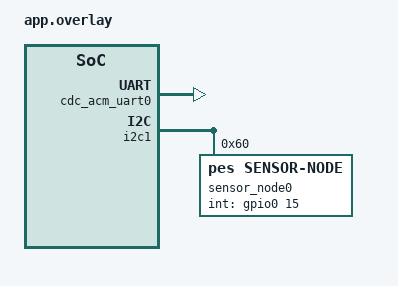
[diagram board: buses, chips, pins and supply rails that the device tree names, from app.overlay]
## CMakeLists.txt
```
cmake_minimum_required(VERSION 3.20.0)

# Register this directory so Zephyr finds dts/bindings/sensor/pes,sensor-node.yaml
list(APPEND DTS_ROOT "${CMAKE_CURRENT_SOURCE_DIR}")

find_package(Zephyr REQUIRED HINTS $ENV{ZEPHYR_BASE})
project(base-station)

target_sources(app PRIVATE
  src/main.c
  drivers/sensor/sensor_node/sensor_node.c)

target_include_directories(app PRIVATE drivers/sensor/sensor_node)
```

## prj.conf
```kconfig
CONFIG_SERIAL=y
CONFIG_CONSOLE=y
CONFIG_UART_CONSOLE=y
CONFIG_UART_LINE_CTRL=y
CONFIG_UART_INTERRUPT_DRIVEN=y

CONFIG_USB_DEVICE_STACK=y
CONFIG_USB_DEVICE_PRODUCT="Base Station"
CONFIG_USB_CDC_ACM=y

CONFIG_SENSOR=y
CONFIG_LOG=y

CONFIG_SHELL=y
CONFIG_SHELL_BACKEND_SERIAL=y
CONFIG_SHELL_BACKEND_SERIAL_CHECK_DTR=y
CONFIG_I2C=y
```

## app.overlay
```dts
/ {
	chosen {
		zephyr,console = &cdc_acm_uart0;
		zephyr,shell-uart = &cdc_acm_uart0;
	};
};

&zephyr_udc0 {
	cdc_acm_uart0: cdc_acm_uart0 {
		compatible = "zephyr,cdc-acm-uart";
	};
};

&i2c1_default {
	group1 {
		bias-pull-up;
	};
};

&i2c1 {
	sensor_node0: sensor-node-0@60 {
		compatible = "pes,sensor-node";
		reg = <0x60>;
		status = "okay";
		int_gpios = <&gpio0 15 GPIO_ACTIVE_HIGH>;
	};
};
```

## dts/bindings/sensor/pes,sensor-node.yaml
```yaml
description: PES sensor node connected to base station via I2C

compatible: "pes,sensor-node"

include: i2c-device.yaml

properties:
  int_gpios:
    type: phandle-array
    required: false
```

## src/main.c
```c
#include <string.h>
#include <zephyr/device.h>
#include <zephyr/drivers/sensor.h>
#include <zephyr/drivers/uart.h>
#include <zephyr/kernel.h>
#include <zephyr/shell/shell.h>
#include <zephyr/usb/usb_device.h>

static const struct device *const console = DEVICE_DT_GET(DT_CHOSEN(zephyr_console));
static const struct device *const sensor = DEVICE_DT_GET(DT_NODELABEL(sensor_node0));

#define SENSOR_ATTR_THRESHOLD_DUR SENSOR_ATTR_PRIV_START

enum plant_monitor_channel {
    PLANT_MONITOR_CHAN_SOIL_MOISTURE = SENSOR_CHAN_PRIV_START,
};
static uint8_t current_period_min = 0;

static void periodic_read_handler(struct k_work *work) {
    struct sensor_value val;

    printk("\n--- Periodic Sensor Read ---\n");

    if (sensor_sample_fetch_chan(sensor, SENSOR_CHAN_AMBIENT_TEMP) == 0) {
        sensor_channel_get(sensor, SENSOR_CHAN_AMBIENT_TEMP, &val);
        printk("Temp: %d.%06d\n", val.val1, val.val2);
    }

    if (sensor_sample_fetch_chan(sensor, SENSOR_CHAN_HUMIDITY) == 0) {
        sensor_channel_get(sensor, SENSOR_CHAN_HUMIDITY, &val);
        printk("Humidity: %d.%06d\n", val.val1, val.val2);
    }

    if (sensor_sample_fetch_chan(sensor, PLANT_MONITOR_CHAN_SOIL_MOISTURE) == 0) {
        sensor_channel_get(sensor, PLANT_MONITOR_CHAN_SOIL_MOISTURE, &val);
        printk("Moisture: %d.%06d\n", val.val1, val.val2);
    }

    if (sensor_sample_fetch_chan(sensor, SENSOR_CHAN_LIGHT) == 0) {
        sensor_channel_get(sensor, SENSOR_CHAN_LIGHT, &val);
        printk("Light: %d.%06d\n", val.val1, val.val2);
    }
}

K_WORK_DEFINE(periodic_read_work, periodic_read_handler);

static void timer_handler(struct k_timer *dummy) {
    k_work_submit(&periodic_read_work);
}

// Define the hardware-backed timer
K_TIMER_DEFINE(periodic_timer, timer_handler, NULL);

// 3. Command Handlers
static int cmd_start(const struct shell *shell, size_t argc, char **argv) {
    if (argc < 2) {
        shell_print(shell, "Usage: start <period_min>");
        return -EINVAL;
    }

    int period = atoi(argv[1]);
    if (period <= 0 || period > 255) {
        shell_print(shell, "Invalid period. Must be between 1 and 255.");
        return -EINVAL;
    }

    current_period_min = (uint8_t)period;

    // Start the timer: First tick happens K_NO_WAIT (immediately),
    // and it auto-reloads exactly every K_MINUTES(current_period_min)
    k_timer_start(&periodic_timer, K_NO_WAIT, K_MINUTES(current_period_min));

    shell_print(shell, "Started reading every %d minute(s).", current_period_min);
    return 0;
}

static int cmd_stop(const struct shell *shell, size_t argc, char **argv) {
    // Stop the hardware timer
    k_timer_stop(&periodic_timer);

    // Cancel any work that the timer might have just submitted but hasn't run yet
    k_work_cancel(&periodic_read_work);

    shell_print(shell, "Stopped periodic reading.");
    return 0;
}

static int cmd_read(const struct shell *shell, size_t argc, char **argv) {

    if (argc < 2) {
        shell_print(shell, "Usage: read temp, moisture, hum, light or all");
        return 0;
    }

    bool is_all = !strcmp(argv[1], "all");
    bool any_matched = is_all;
    if (is_all || !strcmp(argv[1], "temp")) {
        struct sensor_value temp;
        int ret = sensor_sample_fetch_chan(sensor, SENSOR_CHAN_AMBIENT_TEMP);
        if (ret < 0) {
            shell_print(shell, "Fetch failed: %d", ret);
            return ret;
        }
        sensor_channel_get(sensor, SENSOR_CHAN_AMBIENT_TEMP, &temp);
        shell_print(shell, "Temp: %d.%06d", temp.val1, temp.val2);
        any_matched = true;
    }

    if (is_all || !strcmp(argv[1], "hum")) {
        struct sensor_value hum;
        int ret = sensor_sample_fetch_chan(sensor, SENSOR_CHAN_HUMIDITY);
        if (ret < 0) {
            shell_print(shell, "Fetch failed: %d", ret);
            return ret;
        }
        sensor_channel_get(sensor, SENSOR_CHAN_HUMIDITY, &hum);

        shell_print(shell, "Humidity: %d.%06d", hum.val1, hum.val2);
        any_matched = true;
    }

    if (is_all || !strcmp(argv[1], "moisture")) {
        struct sensor_value moisture;
        int ret = sensor_sample_fetch_chan(sensor, PLANT_MONITOR_CHAN_SOIL_MOISTURE);
        if (ret < 0) {
            shell_print(shell, "Fetch failed: %d", ret);
            return ret;
        }
        sensor_channel_get(sensor, PLANT_MONITOR_CHAN_SOIL_MOISTURE, &moisture);
        shell_print(shell, "Moisture: %d.%06d", moisture.val1, moisture.val2);
        any_matched = true;
    }

    if (is_all || !strcmp(argv[1], "light")) {
        struct sensor_value light;
        int ret = sensor_sample_fetch_chan(sensor, SENSOR_CHAN_LIGHT);
        if (ret < 0) {
            shell_print(shell, "Fetch failed: %d", ret);
        }

        sensor_channel_get(sensor, SENSOR_CHAN_LIGHT, &light);
        shell_print(shell, "Light: %d.%06d", light.val1, light.val2);
        any_matched = true;
    }

    if (!any_matched) {
        shell_print(shell, "unknown option");
    }
    return 0;
}

static void cmd_set(const struct shell *shell, size_t argc, char **argv) {
    if (argc < 3) {
        shell_print(shell, "Usage: set {threshold, or min} {0 < n < 256}");
        return;
    }

    int parsed = atoi(argv[2]);
    enum sensor_attribute attr;
    if (!strcmp(argv[1], "threshold")) {
        attr = SENSOR_ATTR_UPPER_THRESH;
    } else if (!strcmp(argv[1], "min")) {
        attr = SENSOR_ATTR_THRESHOLD_DUR;
    } else {
        shell_print(shell, "unknown option");
        return;
    }

    if (parsed <= 0 || 256 <= parsed) {
        shell_print(shell, "Invalid n");
        shell_print(shell, "Usage: set {threshold, or min} {0 < n < 256}");
        return;
    }
    struct sensor_value val = {.val1 = parsed, .val2 = 0};
    sensor_attr_set(sensor, SENSOR_CHAN_LIGHT, attr, &val);
}

K_SEM_DEFINE(interupt_waker, 0, 1);

static void send_message(const struct device *dev, const struct sensor_trigger *trigger) {
    k_sem_give(&interupt_waker);
}

static void cmd_enable(const struct shell *shell, size_t argc, char **argv) {
    static const struct sensor_trigger trig = {
        .type = SENSOR_TRIG_THRESHOLD,
        .chan = SENSOR_CHAN_LIGHT, // Specific channel
    };
    sensor_trigger_set(sensor, &trig, send_message);
}

SHELL_CMD_REGISTER(read, NULL, "Usage: read temp, moisture, hum, light or all", cmd_read);
SHELL_CMD_REGISTER(set, NULL, "Usage: set <threshold, or min> <0 <= n <256>", cmd_set);
SHELL_CMD_REGISTER(enable, NULL, "Usage: enable", cmd_enable);
SHELL_CMD_REGISTER(start, NULL, "Usage: start <period_min>", cmd_start);
SHELL_CMD_REGISTER(stop, NULL, "Usage: stop", cmd_stop);

int main(void) {
    uint32_t dtr = 0;

    if (usb_enable(NULL)) {
        return 0;
    }

    while (!dtr) {
        uart_line_ctrl_get(console, UART_LINE_CTRL_DTR, &dtr);
        k_sleep(K_MSEC(100));
    }

    if (!device_is_ready(sensor)) {
        printk("Sensor not ready\n");
        return 0;
    }

    printk("Plant monitoring started\n");

    while (1) {
        k_sem_take(&interupt_waker, K_FOREVER);
        printk("WARNING: Low light!\n");
    }
    return 0;
}
```

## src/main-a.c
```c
// Alfreds' old version
#include <zephyr/device.h>
#include <zephyr/drivers/sensor.h>
#include <zephyr/drivers/uart.h>
#include <zephyr/kernel.h>
#include <zephyr/usb/usb_device.h>

static const struct device *const console = DEVICE_DT_GET(DT_CHOSEN(zephyr_console));
static const struct device *const sensor = DEVICE_DT_GET(DT_NODELABEL(sensor_node0));

int main(void) {
    uint32_t dtr = 0;

    if (usb_enable(NULL)) {
        return 0;
    }

    while (!dtr) {
        uart_line_ctrl_get(console, UART_LINE_CTRL_DTR, &dtr);
        k_sleep(K_MSEC(100));
    }

    if (!device_is_ready(sensor)) {
        printk("sensor not ready\n");
        return 0;
    }

    printk("Base station started\n");

    while (1) {
        int ret = sensor_sample_fetch(sensor);

        if (ret < 0) {
            printk("fetch error: %d\n", ret);
        } else {
            struct sensor_value temp;

            sensor_channel_get(sensor, SENSOR_CHAN_AMBIENT_TEMP, &temp);
            printk("temp: %d.%02d C\n", temp.val1, temp.val2 / 10000);
        }

        k_sleep(K_MSEC(1000));
    }

    return 0;
}
```

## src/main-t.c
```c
#include <string.h>
#include <zephyr/device.h>
#include <zephyr/drivers/sensor.h>
#include <zephyr/drivers/uart.h>
#include <zephyr/kernel.h>
#include <zephyr/shell/shell.h>
#include <zephyr/usb/usb_device.h>

static const struct device *const console = DEVICE_DT_GET(DT_CHOSEN(zephyr_console));
static const struct device *const sensor = DEVICE_DT_GET(DT_NODELABEL(sensor_node0));

enum plant_monitor_channel {
    PLANT_MONITOR_CHAN_SOIL_MOISTURE = SENSOR_CHAN_PRIV_START,
};

static int cmd_read(const struct shell *shell, size_t argc, char **argv) {
    int ret = sensor_sample_fetch(sensor);

    if (ret < 0) {
        shell_print(shell, "Fetch failed: %d", ret);
        return ret;
    }

    struct sensor_value temp, hum, light, moisture;

    sensor_channel_get(sensor, SENSOR_CHAN_AMBIENT_TEMP, &temp);
    sensor_channel_get(sensor, SENSOR_CHAN_HUMIDITY, &hum);
    sensor_channel_get(sensor, SENSOR_CHAN_LIGHT, &light);
    sensor_channel_get(sensor, PLANT_MONITOR_CHAN_SOIL_MOISTURE, &moisture);

    if (argc < 2) {
        shell_print(shell, "Usage: read temp, moisture, hum, light or all");
        return 0;
    }

    if (!strcmp(argv[1], "temp")) {
        shell_print(shell, "Temp: %d.%06d", temp.val1, temp.val2);
        return 0;
    }

    if (!strcmp(argv[1], "hum")) {
        shell_print(shell, "Humidity: %d.%06d", hum.val1, hum.val2);
        return 0;
    }

    if (!strcmp(argv[1], "moisture")) {
        shell_print(shell, "Moisture: %d.%06d", moisture.val1, moisture.val2);
        return 0;
    }

    if (!strcmp(argv[1], "light")) {
        shell_print(shell, "Light: %d.%06d", light.val1, light.val2);
        return 0;
    }

    if (!strcmp(argv[1], "all")) {
        shell_print(shell, "Temp: %d.%06d", temp.val1, temp.val2);
        shell_print(shell, "Humidity: %d.%06d", hum.val1, hum.val2);
        shell_print(shell, "Light: %d.%06d", light.val1, light.val2);
        shell_print(shell, "Moisture: %d.%06d", moisture.val1, moisture.val2);
        return 0;
    }

    shell_print(shell, "unknown option");
    return 0;
}

SHELL_CMD_REGISTER(read, NULL, "Usage: read temp, moisture, hum, light or all", cmd_read);

int main(void) {
    uint32_t dtr = 0;

    if (usb_enable(NULL)) {
        return 0;
    }

    while (!dtr) {
        uart_line_ctrl_get(console, UART_LINE_CTRL_DTR, &dtr);
        k_sleep(K_MSEC(100));
    }

    if (!device_is_ready(sensor)) {
        printk("Sensor not ready\n");
        return 0;
    }

    printk("Plant monitoring started\n");

    while (1) {
        int ret = sensor_sample_fetch(sensor);

        if (ret < 0) {
            printk("fetch error: %d\n", ret);
        } else {
            struct sensor_value light;

            sensor_channel_get(sensor, SENSOR_CHAN_LIGHT, &light);

            if (light.val1 < 100) { // TODO: Set to something reasonable
                printk("WARNING: Low light!\n");
            }
        }

        k_sleep(K_SECONDS(1));
    }
    return 0;
}
```
